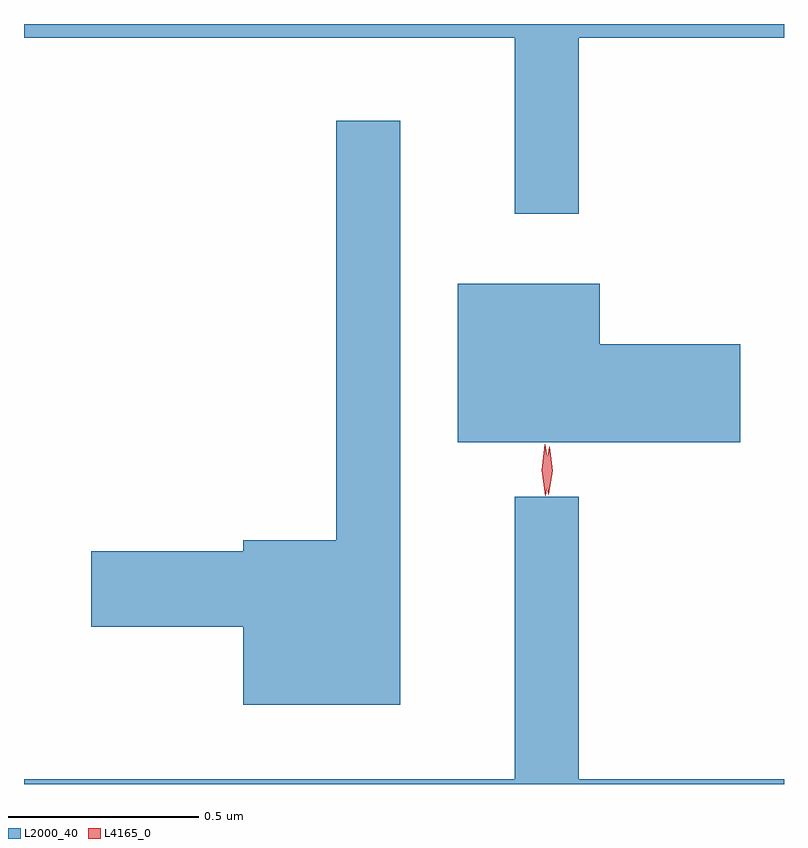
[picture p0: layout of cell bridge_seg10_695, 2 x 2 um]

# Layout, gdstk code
import gdstk
lib = gdstk.Library(unit=1e-6, precision=1e-09)
def P(c, l, *ps):  # polygons
    for p in ps: c.add(gdstk.Polygon(p, *l))
L2000_40 = (2000, 40)
L4165_0 = (4165, 0)

bridge_seg10_695 = lib.new_cell('bridge_seg10_695')
P(bridge_seg10_695, L2000_40, [(920.289,2116.136),(920.829,2116.136),(920.829,2116.172),(918.829,2116.172),(918.829,2116.136),(920.121,2116.136),(920.121,2115.673),(920.289,2115.673)],
  [(919.819,2115.918),(919.651,2115.918),(919.651,2114.814),(919.406,2114.814),(919.406,2114.784),(919.006,2114.784),(919.006,2114.586),(919.406,2114.586),(919.406,2114.381),(919.819,2114.381)],
  [(920.714,2115.329),(920.344,2115.329),(920.344,2115.489),(919.971,2115.489),(919.971,2115.071),(920.714,2115.071)],
  [(920.829,2114.184),(920.289,2114.184),(920.289,2114.928),(920.121,2114.928),(920.121,2114.184),(918.829,2114.184),(918.829,2114.172),(920.829,2114.172)])
P(bridge_seg10_695, L4165_0, [(920.21,2114.933),(920.209,2114.934),(920.201,2114.996),(920.211,2115.059),(920.211,2115.06),(920.212,2115.059),(920.22,2114.996),(920.21,2114.934)],
  [(920.201,2114.93),(920.191,2114.998),(920.2,2115.066),(920.201,2115.066),(920.201,2115.066),(920.211,2114.998),(920.202,2114.93),(920.202,2114.93)])

lib.write_gds('bridge_seg10_695.gds')
